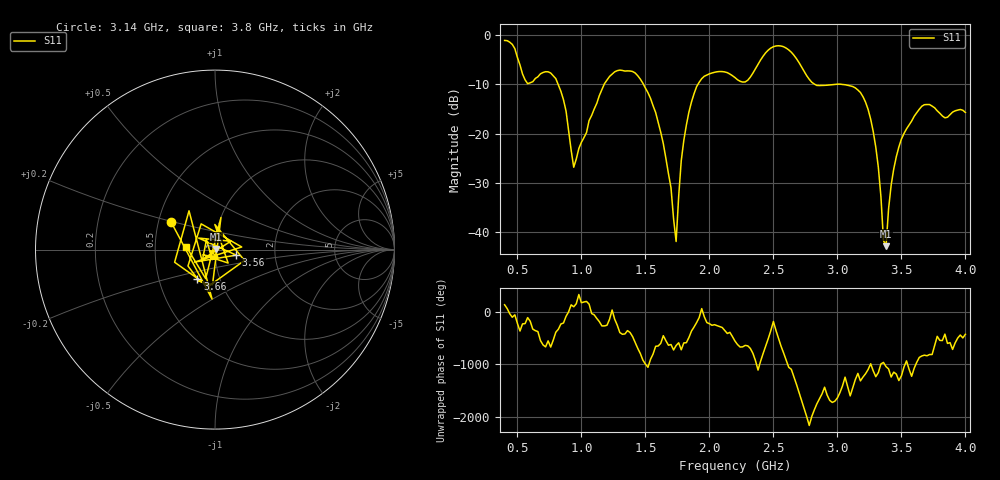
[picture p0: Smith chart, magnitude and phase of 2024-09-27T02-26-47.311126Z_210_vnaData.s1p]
!Created with skrf (http://scikit-rf.org).
# Hz S RI R 50.0
!freq ReS11 ImS11
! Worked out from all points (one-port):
!   181 points, 400 MHz to 4 GHz, reference 50 ohm
!   lowest |S11| = -42.8 dB at 3.38 GHz (marker M1), VSWR 1.01, Z = 50.6 + j0.424 ohm
!   |S11| at or under -10 dB: 817.6 MHz to 1.178 GHz (360.9 MHz wide, 36.2 % of centre); 1.484 GHz to 1.911 GHz (427.5 MHz wide, 25.2 % of centre); 3.021 GHz to end of sweep (the widest 3 of 4)
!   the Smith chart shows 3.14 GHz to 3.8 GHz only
!   S11 on the Smith chart (normalised r, x): 3.14 GHz: 0.58, +0.20; 3.56 GHz: 1.27, -0.08; 3.66 GHz: 0.78, -0.26; 3.8 GHz: 0.72, +0.02
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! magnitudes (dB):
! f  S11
! 400 MHz  -1.1
! 580 MHz  -9.9
! 740 MHz  -7.5
! 860 MHz  -13.2
! 940 MHz  -26.8
! 1.18 GHz  -9.9
! 1.3 GHz  -7.2
! 1.58 GHz  -15.7
! 1.7 GHz  -31.0
! 1.74 GHz  -41.9
! 1.76 GHz  -32.7
! 1.8 GHz  -21.4
! 1.9 GHz  -10.5
! 2.2 GHz  -8.7
! 2.5 GHz  -2.4
! 2.66 GHz  -4.1
! 2.82 GHz  -10.0
! 3.1 GHz  -10.3
! 3.14 GHz  -10.8
! 3.28 GHz  -19.6
! 3.32 GHz  -26.9
! 3.36 GHz  -41.6
! 3.38 GHz  -42.8
! 3.44 GHz  -27.2
! 3.56 GHz  -18.3
! 3.66 GHz  -14.5
! 3.8 GHz  -15.9
! 4 GHz  -15.7
